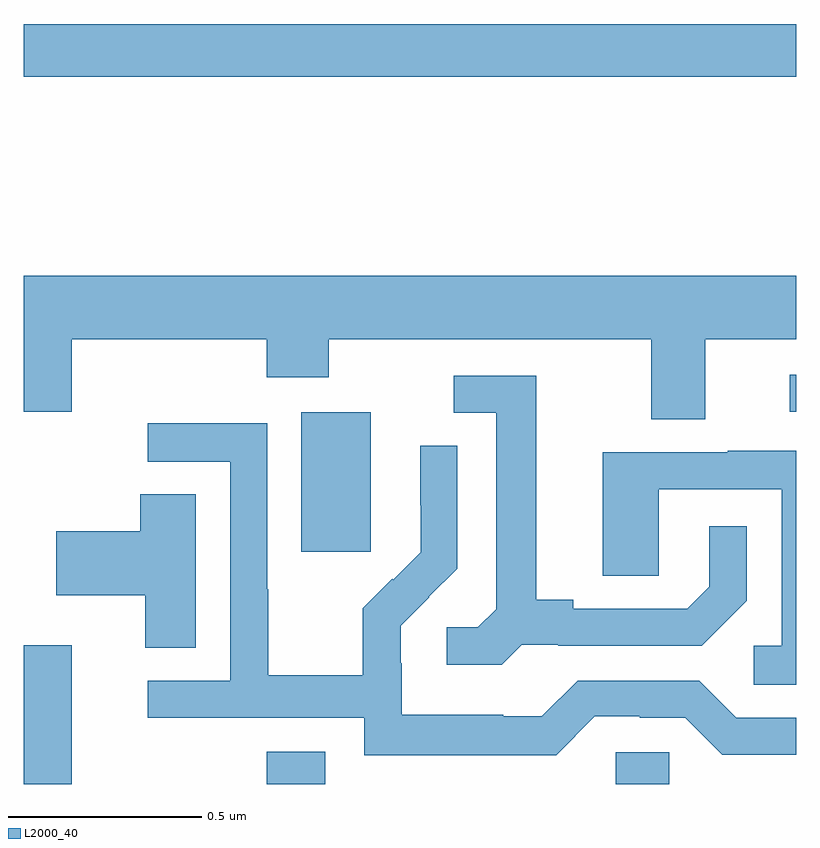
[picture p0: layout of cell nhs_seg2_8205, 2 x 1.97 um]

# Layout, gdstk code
import gdstk
lib = gdstk.Library(unit=1e-6, precision=1e-09)
def R(c, l, rs):  # rectangles x0, y0, x1, y1
    for r in rs: c.add(gdstk.rectangle(r[:2], r[2:], *l))
def P(c, l, *ps):  # polygons
    for p in ps: c.add(gdstk.Polygon(p, *l))
L2000_40 = (2000, 40)

nhs_seg2_8205 = lib.new_cell('nhs_seg2_8205')
R(nhs_seg2_8205, L2000_40, [(213,663.8,213.124,664.159), (213.629,663.8,213.781,663.883), (214.533,663.8,214.671,663.882), (213.719,664.401,213.898,664.762), (214.983,664.764,215,664.86), (213,665.632,215,665.768)])
P(nhs_seg2_8205, L2000_40, [(214.765,664.952),(215,664.952),(215,665.116),(213,665.116),(213,664.764),(213.124,664.764),(213.124,664.952),(213.629,664.952),(213.629,664.853),(213.789,664.853),(213.789,664.952),(214.625,664.952),(214.625,664.744),(214.765,664.744)],
  [(214.29,664.161),(214.384,664.161),(214.384,664.158),(214.756,664.158),(214.872,664.274),(214.872,664.468),(214.775,664.468),(214.775,664.311),(214.718,664.254),(214.423,664.254),(214.423,664.277),(214.327,664.277),(214.327,664.857),(214.113,664.857),(214.113,664.761),(214.223,664.761),(214.223,664.253),(214.176,664.206),(214.095,664.206),(214.095,664.109),(214.238,664.109)],
  [(214.479,663.975),(214.595,663.975),(214.595,663.972),(214.713,663.972),(214.809,663.876),(215,663.876),(215,663.972),(214.845,663.972),(214.749,664.068),(214.434,664.068),(214.341,663.975),(214.241,663.975),(214.241,663.979),(213.978,663.979),(213.978,664.113),(213.976,664.113),(213.976,664.21),(214.05,664.284),(214.049,664.285),(214.122,664.358),(214.122,664.676),(214.026,664.676),(214.026,664.522),(214.028,664.522),(214.028,664.4),(213.957,664.329),(213.954,664.332),(213.877,664.255),(213.877,664.081),(213.633,664.081),(213.633,664.304),(213.63,664.304),(213.63,664.734),(213.321,664.734),(213.321,664.635),(213.534,664.635),(213.534,664.068),(213.321,664.068),(213.321,663.972),(213.882,663.972),(213.882,663.875),(214.379,663.875)],
  [(215,664.663),(214.823,664.663),(214.823,664.659),(214.499,664.659),(214.499,664.339),(214.644,664.339),(214.644,664.563),(214.962,664.563),(214.962,664.158),(214.89,664.158),(214.89,664.057),(215,664.057)],
  [(213.445,664.55),(213.302,664.55),(213.302,664.455),(213.084,664.455),(213.084,664.289),(213.314,664.289),(213.314,664.153),(213.445,664.153)])

lib.write_gds('nhs_seg2_8205.gds')
